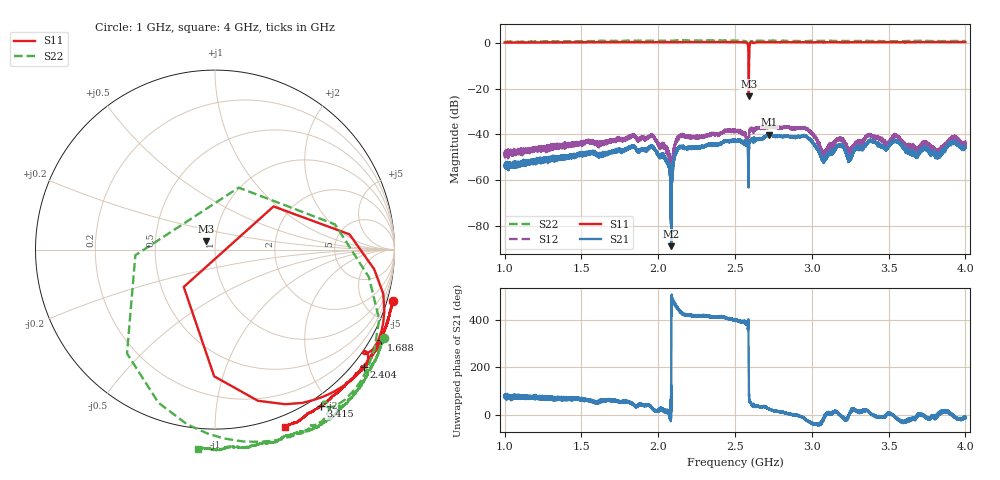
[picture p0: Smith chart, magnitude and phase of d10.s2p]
!Agilent Technologies,N5230C,SG49000117,A.08.50.07
!Agilent N5230C: A.08.50.07
!Date: Monday, May 20, 2024 20:17:55
!Correction: S11(Full 2 Port(1,2))
!S21(Full 2 Port(1,2))
!S12(Full 2 Port(1,2))
!S22(Full 2 Port(1,2))
!S2P File: Measurements: S11, S21, S12, S22:
# Hz S  MA  R 50
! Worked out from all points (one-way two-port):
!   20001 points, 1 GHz to 4 GHz, reference 50 ohm
!   highest |S21| = -40.13 dB at 2.722 GHz (marker M1); lowest = -89.0 dB at 2.085 GHz (marker M2)
!   lowest |S11| = -23.3 dB at 2.59 GHz (marker M3), VSWR 1.15, Z = 45 + j4.13 ohm
!   |S11| at or under -10 dB: 2.589105 GHz to 2.590895 GHz (1.79 MHz wide, 0.0691 % of centre)
!   |S22| runs from -10.5 to 1.2 dB; largest |S21 - S12| = 0.0091
!   S11 on the Smith chart (normalised r, x): 1 GHz: -0.74, -6.94; 1.688 GHz: -0.42, -3.87; 2.404 GHz: -0.25, -2.85; 3.415 GHz: -0.11, -1.88; 4 GHz: -0.10, -1.47
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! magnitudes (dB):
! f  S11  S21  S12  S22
! 1 GHz  0.3  -53.3  -48.9  0.5
! 1.5 GHz  0.4  -48.6  -43.7  0.8
! 1.688 GHz  0.5  -47.5  -43.1  1.0
! 2 GHz  0.4  -49.2  -44.6  1.0
! 2.057 GHz  0.5  -52.1  -47.0  1.1
! 2.085 GHz  0.4  -89.0  -64.1  1.1
! 2.111 GHz  0.4  -48.7  -43.8  1.1
! 2.141 GHz  0.5  -45.8  -40.9  1.1
! 2.404 GHz  0.5  -44.2  -39.6  1.1
! 2.5 GHz  0.5  -42.4  -38.3  1.1
! 2.59 GHz  -23.3  -48.3  -47.6  -9.8
! 2.608 GHz  0.4  -41.9  -37.5  0.8
! 2.722 GHz  0.4  -40.1  -36.6  1.0
! 3 GHz  0.4  -42.8  -39.8  0.9
! 3.079 GHz  0.4  -50.8  -47.7  1.0
! 3.174 GHz  0.4  -44.7  -42.3  1.0
! 3.246 GHz  0.4  -50.9  -47.6  0.9
! 3.415 GHz  0.4  -43.9  -41.4  0.9
! 3.5 GHz  0.4  -45.3  -43.4  0.8
! 3.817 GHz  0.5  -49.5  -48.0  0.9
! 3.925 GHz  0.5  -43.5  -42.0  0.9
! 4 GHz  0.5  -45.9  -44.3  1.0
